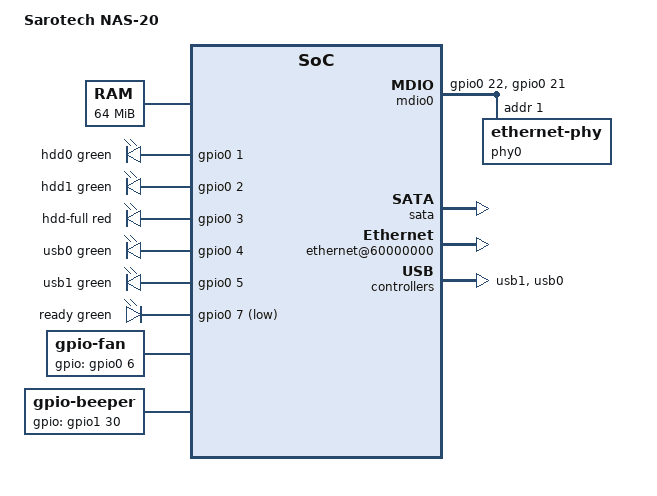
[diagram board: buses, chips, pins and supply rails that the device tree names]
// SPDX-License-Identifier: GPL-2.0
/*
 * Device Tree file for the Gemini-based Sarotech Wizplat NAS-20
 */

/dts-v1/;

#include "gemini.dtsi"
#include <dt-bindings/input/input.h>
#include <dt-bindings/leds/common.h>

/ {
	model = "Sarotech NAS-20";
	compatible = "sarotech,nas-20", "cortina,gemini";
	#address-cells = <1>;
	#size-cells = <1>;

	memory@0 { /* 128 MB */
		device_type = "memory";
		/* The device has 128M installed but they are probably at another
                   address range? Using 0x4000000-0x8000000 causes the kernel to oops */
		/* reg = <0x00000000 0x8000000>; */
		reg = <0x00000000 0x4000000>;
	};


	chosen {
		bootargs = "console=ttyS0,19200 rootdelay=2";
		stdout-path = &uart0;
	};

	leds {
		compatible = "gpio-leds";

		hdd0 {
			color = <LED_COLOR_ID_GREEN>;
			function = LED_FUNCTION_DISK_ACTIVITY;
			function_enumerator = <1>;
			gpios = <&gpio0 1 GPIO_ACTIVE_HIGH>;

		};

		hdd1 {
			color = <LED_COLOR_ID_GREEN>;
			function = LED_FUNCTION_DISK_ACTIVITY;
			function_enumerator = <2>;
			gpios = <&gpio0 2 GPIO_ACTIVE_HIGH>;
		};		

		hdd-full {
			color = <LED_COLOR_ID_RED>;
			function = LED_FUNCTION_ALARM;
			panic-indicator;
			gpios = <&gpio0 3 GPIO_ACTIVE_HIGH>;
		};

		usb0 {
			color = <LED_COLOR_ID_GREEN>;
			function = LED_FUNCTION_USB;
			function_enumerator = <1>;
			gpios = <&gpio0 4 GPIO_ACTIVE_HIGH>;
			trigger-sources = <&usb0>;
			linux,default-trigger = "usbport";
		};

		usb1 {
			color = <LED_COLOR_ID_GREEN>;
			function = LED_FUNCTION_USB;
			function_enumerator = <2>;
			gpios = <&gpio0 5 GPIO_ACTIVE_HIGH>;
			trigger-sources = <&usb1>;
		};

		ready {
			function = LED_FUNCTION_BOOT;
			color = <LED_COLOR_ID_GREEN>;
			gpios = <&gpio0 7 GPIO_ACTIVE_LOW>;
			linux,default-trigger = "timer";
			led-pattern = <250 250>;
		};	
		
	};

	fan {
		compatible = "gpio-fan";
		gpios = <&gpio0 6 GPIO_ACTIVE_HIGH>;	
	};

	beeper {
		compatible = "gpio-beeper";
		gpios = <&gpio1 30 GPIO_ACTIVE_HIGH>;
	};

	mdio0: mdio {
		compatible = "virtual,mdio-gpio";
		gpios = <&gpio0 22 GPIO_ACTIVE_HIGH>, /* MDC */
			<&gpio0 21 GPIO_ACTIVE_HIGH>; /* MDIO */
		#address-cells = <1>;
		#size-cells = <0>;

		phy0: ethernet-phy@1 {
			reg = <1>;
			device_type = "ethernet-phy";
		};
	};

	soc {
		flash@30000000 {
			status = "okay";
			/* 16MB of flash */
			reg = <0x30000000 0x01000000>;

			partitions {
				compatible = "redboot-fis";
				/* Eraseblock at 0xfe0000 */
				fis-index-block = <0x7f>;
			};
		};

		syscon: syscon@40000000 {
			pinctrl {
				/*
				 * gpio1dgrp cover line 28-31 otherwise used
				 * by TVC.
				 */
				gpio1_default_pins: pinctrl-gpio1 {
					mux {
						function = "gpio1";
						groups = "gpio1dgrp";
					};
				};
				pinctrl-gmii {
					mux {
						function = "gmii";
						groups = "gmii_gmac0_grp";
					};
					/* Settings come from OpenWRT, pins on SL3516 */
					conf0 {
						pins = "V8 GMAC0 RXDV", "T10 GMAC1 RXDV";
						skew-delay = <0>;
					};
					conf1 {
						pins = "Y7 GMAC0 RXC", "Y11 GMAC1 RXC";
						skew-delay = <15>;
					};
					conf2 {
						pins = "T8 GMAC0 TXEN", "W11 GMAC1 TXEN";
						skew-delay = <7>;
					};
					conf3 {
						pins = "U8 GMAC0 TXC";
						skew-delay = <11>;
					};
					conf4 {
						pins = "V11 GMAC1 TXC";
						skew-delay = <10>;
					};
					conf5 {
						/* The data lines all have default skew */
						pins = "W8 GMAC0 RXD0", "V9 GMAC0 RXD1",
						       "Y8 GMAC0 RXD2", "U9 GMAC0 RXD3",
						       "T7 GMAC0 TXD0", "U6 GMAC0 TXD1",
						       "V7 GMAC0 TXD2", "U7 GMAC0 TXD3",
						       "Y12 GMAC1 RXD0", "V12 GMAC1 RXD1",
						       "T11 GMAC1 RXD2", "W12 GMAC1 RXD3",
						       "U10 GMAC1 TXD0", "Y10 GMAC1 TXD1",
						       "W10 GMAC1 TXD2", "T9 GMAC1 TXD3";
						skew-delay = <7>;
					};
					/* Set up drive strength on GMAC0 to 16 mA */
					conf6 {
						groups = "gmii_gmac0_grp";
						drive-strength = <16>;
					};
				};
			};
		};

		sata: sata@46000000 {
			cortina,gemini-ata-muxmode = <0>;
			cortina,gemini-enable-sata-bridge;
			status = "okay";
		};

		gpio1: gpio@4e000000 {
			pinctrl-names = "default";
			pinctrl-0 = <&gpio1_default_pins>;
		};

		
		ethernet@60000000 {
			status = "okay";

			ethernet-port@0 {
				phy-mode = "rgmii";
				phy-handle = <&phy0>;
			};
			ethernet-port@1 {
				/* status = "disabled"; */
				/* DO NOT DISABLE THIS - the cortina driver assumes it exists and will croak on a NPDR */
			};
		};

		usb1: usb@68000000 {
			status = "okay";
		};

		usb0: usb@69000000 {
			status = "okay";
		};

		ide@63000000 {
			status = "okay";
		};

		ide@63400000 {
			status = "okay";
		};
	};
};
